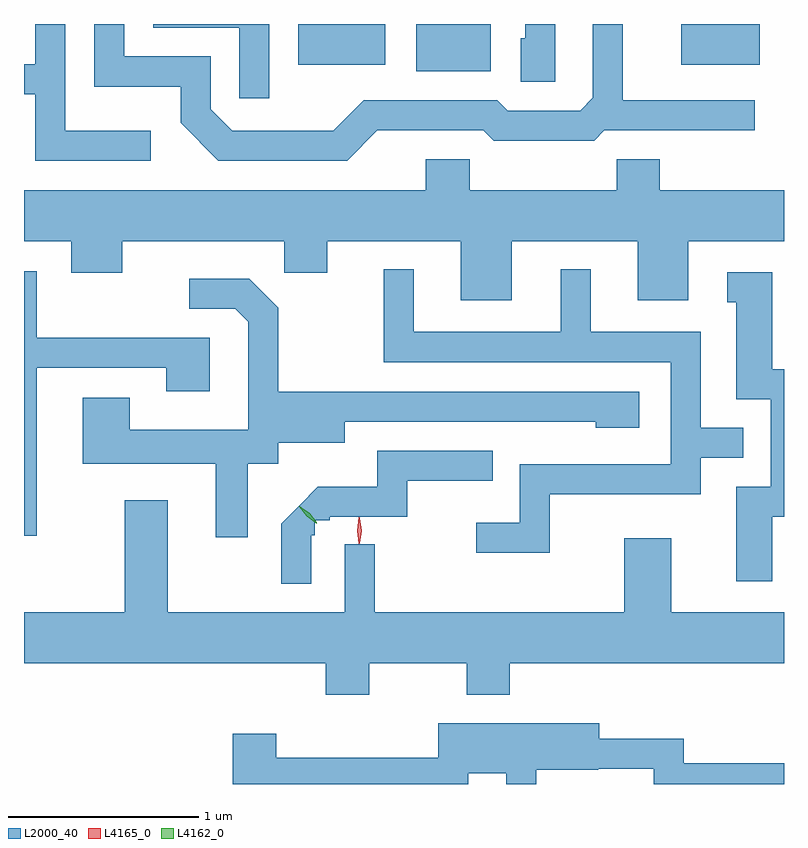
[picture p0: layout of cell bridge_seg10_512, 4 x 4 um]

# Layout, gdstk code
import gdstk
lib = gdstk.Library(unit=1e-6, precision=1e-09)
def R(c, l, rs):  # rectangles x0, y0, x1, y1
    for r in rs: c.add(gdstk.rectangle(r[:2], r[2:], *l))
def P(c, l, *ps):  # polygons
    for p in ps: c.add(gdstk.Polygon(p, *l))
L2000_40 = (2000, 40)
L4162_0 = (4162, 0)
L4165_0 = (4165, 0)

bridge_seg10_512 = lib.new_cell('bridge_seg10_512')
R(bridge_seg10_512, L2000_40, [(832.336,2168.091,832.729,2168.34), (831.716,2168.126,832.174,2168.34), (833.731,2168.126,834.144,2168.34)])
P(bridge_seg10_512, L2000_40, [(830.938,2167.779),(830.489,2167.779),(830.489,2168.34),(830.331,2168.34),(830.331,2168.129),(830.272,2168.129),(830.272,2167.971),(830.331,2167.971),(830.331,2167.621),(830.938,2167.621)],
  [(833.069,2168.34),(832.911,2168.34),(832.911,2168.264),(832.886,2168.264),(832.886,2168.036),(833.069,2168.036)],
  [(831.564,2168.34),(830.951,2168.34),(830.951,2168.321),(831.406,2168.321),(831.406,2167.948),(831.564,2167.948)],
  [(832.132,2167.781),(832.689,2167.781),(832.744,2167.726),(833.272,2167.726),(833.327,2167.781),(834.118,2167.781),(834.118,2167.939),(833.424,2167.939),(833.424,2168.34),(833.266,2168.34),(833.266,2167.952),(833.199,2167.884),(832.817,2167.884),(832.762,2167.939),(832.059,2167.939),(831.899,2167.779),(831.367,2167.779),(831.254,2167.892),(831.254,2168.169),(830.799,2168.169),(830.799,2168.34),(830.641,2168.34),(830.641,2168.011),(831.096,2168.011),(831.096,2167.819),(831.294,2167.621),(831.972,2167.621)],
  [(832.839,2167.196),(833.501,2167.196),(833.501,2166.886),(833.769,2166.886),(833.769,2167.196),(834.272,2167.196),(834.272,2167.464),(833.619,2167.464),(833.619,2167.629),(833.391,2167.629),(833.391,2167.464),(832.619,2167.464),(832.619,2167.629),(832.386,2167.629),(832.386,2167.464),(830.272,2167.464),(830.272,2167.196),(830.521,2167.196),(830.521,2167.031),(830.789,2167.031),(830.789,2167.196),(831.641,2167.196),(831.641,2167.031),(831.869,2167.031),(831.869,2167.196),(832.571,2167.196),(832.571,2166.886),(832.839,2166.886)],
  [(833.039,2165.866),(833.834,2165.866),(833.834,2166.056),(834.058,2166.056),(834.058,2166.214),(833.834,2166.214),(833.834,2166.719),(833.254,2166.719),(833.254,2167.048),(833.096,2167.048),(833.096,2166.719),(832.324,2166.719),(832.324,2167.048),(832.166,2167.048),(832.166,2166.561),(833.676,2166.561),(833.676,2166.024),(832.881,2166.024),(832.881,2165.714),(832.653,2165.714),(832.653,2165.556),(833.039,2165.556)],
  [(830.339,2166.531),(831.021,2166.531),(831.021,2166.406),(831.249,2166.406),(831.249,2166.689),(830.339,2166.689),(830.339,2167.039),(830.272,2167.039),(830.272,2165.646),(830.339,2165.646)],
  [(834.209,2165.746),(834.272,2165.746),(834.272,2166.524),(834.209,2166.524),(834.209,2167.034),(833.973,2167.034),(833.973,2166.876),(834.021,2166.876),(834.021,2166.366),(834.201,2166.366),(834.201,2165.904),(834.021,2165.904),(834.021,2165.406),(834.209,2165.406)],
  [(831.449,2166.026),(831.609,2166.026),(831.609,2166.136),(831.959,2166.136),(831.959,2166.246),(833.281,2166.246),(833.281,2166.216),(833.509,2166.216),(833.509,2166.404),(831.609,2166.404),(831.609,2166.847),(831.457,2166.999),(831.143,2166.999),(831.143,2166.841),(831.384,2166.841),(831.451,2166.774),(831.451,2166.204),(830.829,2166.204),(830.829,2166.374),(830.581,2166.374),(830.581,2166.026),(831.281,2166.026),(831.281,2165.638),(831.449,2165.638)],
  [(831.784,2165.65),(831.803,2165.65),(831.803,2165.728),(831.88,2165.728),(831.88,2165.746),(832.289,2165.746),(832.289,2165.936),(832.738,2165.936),(832.738,2166.094),(832.131,2166.094),(832.131,2165.904),(831.818,2165.904),(831.722,2165.808),(831.724,2165.807),(831.626,2165.709),(831.626,2165.393),(831.784,2165.393)],
  [(832.089,2164.976),(832.601,2164.976),(832.601,2164.811),(832.829,2164.811),(832.829,2164.976),(834.272,2164.976),(834.272,2165.244),(833.679,2165.244),(833.679,2165.634),(833.431,2165.634),(833.431,2165.244),(832.119,2165.244),(832.119,2165.603),(831.961,2165.603),(831.961,2165.244),(831.029,2165.244),(831.029,2165.834),(830.801,2165.834),(830.801,2165.244),(830.272,2165.244),(830.272,2164.976),(831.861,2164.976),(831.861,2164.811),(832.089,2164.811)],
  [(832.609,2164.396),(832.811,2164.396),(832.811,2164.34),(832.969,2164.34),(832.969,2164.416),(833.295,2164.416),(833.295,2164.421),(833.586,2164.421),(833.586,2164.34),(834.272,2164.34),(834.272,2164.449),(833.744,2164.449),(833.744,2164.579),(833.299,2164.579),(833.299,2164.659),(832.451,2164.659),(832.451,2164.479),(831.599,2164.479),(831.599,2164.604),(831.371,2164.604),(831.371,2164.34),(832.609,2164.34)])
P(bridge_seg10_512, L4162_0, [(831.813,2165.716),(831.763,2165.751),(831.725,2165.799),(831.725,2165.8),(831.726,2165.8),(831.776,2165.765),(831.814,2165.717),(831.814,2165.716)],
  [(831.813,2165.711),(831.761,2165.749),(831.721,2165.8),(831.721,2165.801),(831.722,2165.801),(831.774,2165.763),(831.814,2165.712),(831.814,2165.711)])
P(bridge_seg10_512, L4165_0, [(832.036,2165.604),(832.035,2165.605),(832.026,2165.674),(832.035,2165.743),(832.036,2165.743),(832.036,2165.743),(832.046,2165.674),(832.036,2165.605)],
  [(832.039,2165.608),(832.039,2165.608),(832.029,2165.674),(832.038,2165.74),(832.039,2165.741),(832.039,2165.74),(832.049,2165.674),(832.04,2165.608)])

lib.write_gds('bridge_seg10_512.gds')
